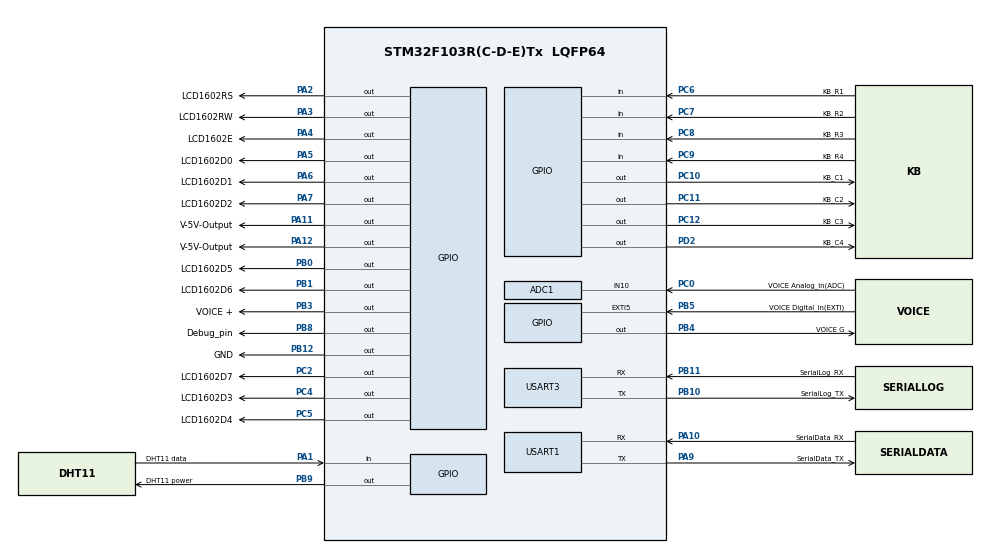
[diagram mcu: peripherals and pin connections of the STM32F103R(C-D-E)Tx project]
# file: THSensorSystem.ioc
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Mcu.Family=STM32F1
PB10.Mode=Asynchronous
PC10.Signal=GPIO_Output
PC12.Signal=GPIO_Output
PC0.GPIO_Label=VOICE Analog_in(ADC)
PC6.GPIO_Label=KB_R1
PA6.GPIO_Label=LCD1602D1
PB0.GPIO_Label=LCD1602D5
PB11.Signal=USART3_RX
ProjectManager.StackSize=0x400
PA12.Signal=GPIO_Output
PC7.Signal=GPIO_Input
PA12.PinState=GPIO_PIN_SET
ADC1.Channel-0\#ChannelRegularConversion=ADC_CHANNEL_10
PB12.GPIO_Label=GND
PC4.GPIO_Label=LCD1602D3
PB1.GPIO_Label=LCD1602D6
PC11.GPIO_Label=KB_C2
PA10.GPIO_Label=SerialData_RX
ADC1.SamplingTime-0\#ChannelRegularConversion=ADC_SAMPLETIME_1CYCLE_5
PC10.GPIO_ModeDefaultOutputPP=GPIO_MODE_OUTPUT_PP
Mcu.Package=LQFP64
PB9.Signal=GPIO_Output
TIM2.Prescaler=7
PB1.Signal=GPIO_Output
PA6.Signal=GPIO_Output
PA2.GPIO_Label=LCD1602RS
PA10.Signal=USART1_RX
PC6.GPIO_PuPd=GPIO_PULLDOWN
PB5.GPIO_Label=VOICE Digital_in(EXTI)
PC5.Signal=GPIO_Output
PA4.GPIO_Label=LCD1602E
PC2.GPIO_Label=LCD1602D7
PB4.Signal=GPIO_Output
PA3.Signal=GPIO_Output
PB3.GPIO_Label=VOICE +
PB5.GPIO_ModeDefaultEXTI=GPIO_MODE_IT_RISING
ADC1.Rank-0\#ChannelRegularConversion=1
TIM2.CounterMode=TIM_COUNTERMODE_DOWN
PB9.GPIO_Label=DHT11 power
PA10.Mode=Asynchronous
PC10.GPIO_Label=KB_C1
PC9.GPIO_Label=KB_R4
PC11.Signal=GPIO_Output
PA9.GPIO_Label=SerialData_TX
PC8.Signal=GPIO_Input
PC2.Signal=GPIO_Output
PC4.Signal=GPIO_Output
PC6.Signal=GPIO_Input
PB11.GPIO_Label=SerialLog_RX
PA11.GPIO_Label=V-5V-Output
PC0.Signal=ADCx_IN10
VP_SYS_VS_ND.Mode=No_Debug
PA12.GPIO_Label=V-5V-Output
PC8.GPIO_Label=KB_R3
PB8.GPIO_Label=Debug_pin
PA9.Mode=Asynchronous
PB11.Mode=Asynchronous
ProjectManager.TargetToolchain=STM32CubeIDE
PB10.GPIO_Label=SerialLog_TX
PA9.Signal=USART1_TX
PC7.GPIO_PuPd=GPIO_PULLDOWN
PA1.Signal=GPIO_Input
PB10.Signal=USART3_TX
PA5.Signal=GPIO_Output
board=custom
RCC.APB2Freq_Value=8000000
PB4.GPIO_Label=VOICE G
VP_TIM2_VS_ClockSourceINT.Mode=Internal
PA1.GPIO_Label=DHT11 data
PC9.GPIO_PuPd=GPIO_PULLDOWN
Mcu.Name=STM32F103R(C-D-E)Tx
PA2.Signal=GPIO_Output
PC7.GPIO_Label=KB_R2
PC8.GPIO_PuPd=GPIO_PULLDOWN
PB3.Signal=GPIO_Output
PA4.Signal=GPIO_Output
PB5.Signal=GPXTI5
PA7.GPIO_Label=LCD1602D2
ADC1.master=1
PA5.GPIO_Label=LCD1602D0
PC5.GPIO_Label=LCD1602D4
USART3.VirtualMode=VM_ASYNC
PB5.GPIO_PuPd=GPIO_NOPULL
PC12.GPIO_Label=KB_C3
USART1.VirtualMode=VM_ASYNC
PB9.PinState=GPIO_PIN_SET
PA11.Signal=GPIO_Output
NVIC.EXTI9_5_IRQn=true\:0\:0\:false\:false\:true\:true\:true
SH.ADCx_IN10.0=ADC1_IN10,IN10
ProjectManager.HeapSize=0x200
NVIC.PriorityGroup=NVIC_PRIORITYGROUP_4
ADC1.NbrOfConversionFlag=1
PB8.Signal=GPIO_Output
PC9.Signal=GPIO_Input
PD2.Signal=GPIO_Output
PA11.PinState=GPIO_PIN_SET
RCC.APB1Freq_Value=8000000
PB0.Signal=GPIO_Output
PB12.Signal=GPIO_Output
PD2.GPIO_Label=KB_C4
PA3.GPIO_Label=LCD1602RW
PA7.Signal=GPIO_Output

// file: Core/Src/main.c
/* USER CODE BEGIN Header */
/**
  ******************************************************************************
  * @file           : main.c
  * @brief          : Main program body
  ******************************************************************************
  * @attention
  *
  * <h2><center>&copy; Copyright (c) 2021 STMicroelectronics.
  * All rights reserved.</center></h2>
  *
  * This software component is licensed by ST under BSD 3-Clause license,
  * the "License"; You may not use this file except in compliance with the
  * License. You may obtain a copy of the License at:
  *                        opensource.org/licenses/BSD-3-Clause
  *
  ******************************************************************************
  */
/* USER CODE END Header */
#include "main.h"

/* USER CODE BEGIN Includes */
#include "sign.h"
/** ################################## tlf ################################## */
#ifdef TLF
#include <string.h>
#include <stdio.h>
#include <stdarg.h>
#include <stddef.h>
#include <limits.h>
#include <stdint.h>
#include "vlist.h"
#include "vutils.h"
#include "logme.h"
#include "DHT.h"
#define PORT_TYPE GPIO_TypeDef*
#define PINS_INVALID_PORT NULL
#define PIN_TYPE uint16_t
#define PINS_INVALID_PIN UINT16_MAX
#include "pins.h"
#include "LCD1602.h"
#include "keypad.h"
#endif
/** ################################## wxm ################################## */
#ifdef WXM
#endif
/** ################################## ppy ################################## */
#ifdef PPY
#endif
/** ################################## sjj ################################## */
#ifdef SJJ
#include "keypad.h"
#include "pins.h"
#endif
/** ################################## tyj ################################## */
#ifdef TYJ
#include "LCD1602.h"
#endif
/* USER CODE END Includes */

/* USER CODE BEGIN PTD */
/** ################################## tlf ################################## */
#ifdef TLF
typedef enum GPIO_OutputLevel{
    GPIO_OutputLevel_LOW = GPIO_PIN_RESET,
    GPIO_OutputLevel_HIGH = GPIO_PIN_SET,
    GPIO_OutputLevel_NOT_OUTPUT
} GPIO_OutputLevel;
#endif
/** ################################## wxm ################################## */
#ifdef WXM
#endif
/** ################################## ppy ################################## */
#ifdef PPY
#endif
/** ################################## sjj ################################## */
#ifdef SJJ
#endif
/** ################################## tyj ################################## */
#ifdef TYJ
#endif
/* USER CODE END PTD */

/* USER CODE BEGIN PD */
/** ################################## tlf ################################## */
#ifdef TLF
//#define LOG_USING_SERIAL_DATA
#endif
/** ################################## wxm ################################## */
#ifdef WXM
#endif
/** ################################## ppy ################################## */
#ifdef PPY
#endif
/** ################################## sjj ################################## */
#ifdef SJJ
#endif
/** ################################## tyj ################################## */
#ifdef TYJ
#endif
/* USER CODE END PD */

/* USER CODE BEGIN PM */
/** ################################## tlf ################################## */
#ifdef TLF
#define WELCOME "hello, world! From THSensorSystem :)"
#endif
/** ################################## wxm ################################## */
#ifdef WXM
#endif
/** ################################## ppy ################################## */
#ifdef PPY
#endif
/** ################################## sjj ################################## */
#ifdef SJJ
#endif
/** ################################## tyj ################################## */
#ifdef TYJ
#endif
/* USER CODE END PM */

ADC_HandleTypeDef hadc1;

TIM_HandleTypeDef htim2;

UART_HandleTypeDef huart1;
UART_HandleTypeDef huart3;

/* USER CODE BEGIN PV */
/** ################################## tlf ################################## */
#ifdef TLF
const uint16_t RS_Pin = PA2;
const uint16_t RW_Pin = PA3;
const uint16_t EN_Pin = PA4;
const uint16_t D0_Pin = PA5;
const uint16_t D1_Pin = PA6;
const uint16_t D2_Pin = PA7;
const uint16_t D3_Pin = PC4;
const uint16_t D4_Pin = PC5;
const uint16_t D5_Pin = PB0;
const uint16_t D6_Pin = PB1;
const uint16_t D7_Pin = PC2;

const uint16_t keyboard_C4_Pin__ = PD2;
const uint16_t keyboard_C3_Pin__ = PC12;
const uint16_t keyboard_C2_Pin__ = PC11;
const uint16_t keyboard_C1_Pin__ = PC10;
const uint16_t keyboard_R1_Pin__ = PC6;
const uint16_t keyboard_R2_Pin__ = PC7;
const uint16_t keyboard_R3_Pin__ = PC8;
const uint16_t keyboard_R4_Pin__ = PC9;
#endif
/** ################################## wxm ################################## */
#ifdef WXM
#endif
/** ################################## ppy ################################## */
#ifdef PPY
#endif
/** ################################## sjj ################################## */
#ifdef SJJ
#endif
/** ################################## tyj ################################## */
#ifdef TYJ
int WorC = 0;             //0 means work,1 cry
int deverse = 1;			//deverce lcd
#endif
/* USER CODE END PV */

void SystemClock_Config(void);
static void MX_GPIO_Init(void);
static void MX_USART3_UART_Init(void);
static void MX_TIM2_Init(void);
static void MX_USART1_UART_Init(void);
static void MX_ADC1_Init(void);
/* USER CODE BEGIN PFP */
/** ################################## tlf ################################## */
#ifdef TLF
#endif
/** ################################## wxm ################################## */
#ifdef WXM
#endif
/** ################################## ppy ################################## */
#ifdef PPY
#endif
/** ################################## sjj ################################## */
#ifdef SJJ
#endif
/** ################################## tyj ################################## */
#ifdef TYJ
#endif
/* USER CODE END PFP */

/* USER CODE BEGIN 0 */
/** ################################## tlf ################################## */
#ifdef TLF
void logme_vprintf(const char* restrict format, va_list vlist){
    char buf[2048] = {0};
    vsnprintf(buf, sizeof(buf), format, vlist);
    uint32_t primask = __get_PRIMASK();
    __enable_irq();
    while (HAL_UART_Transmit(
#ifdef LOG_USING_SERIAL_DATA
            &huart1
#else
            &huart3
#endif
            , (uint8_t *)buf, strlen(buf), 0xFFFFFFFF)!=HAL_OK);
//    __set_PRIMASK(primask);
}
long long logme_get_time(){
    return HAL_GetTick();
}
int logme_prepare(){
    return 1;
}
PortType pins_get_port(DigitalPinType digitalPin){
    if (digitalPin == PINS_INVALID_DIGITAL_PIN) return PINS_INVALID_PORT;
    switch (digitalPin & 15U) {
        case 0U: return GPIOA;
        case 1U: return GPIOB;
        case 2U: return GPIOC;
        case 3U: return GPIOD;
        case 4U: return GPIOE;
        case 5U: return GPIOF;
        case 6U: return GPIOG;
        default: return PINS_INVALID_PORT;
    }
}
PinType pins_get_pin(DigitalPinType digitalPin){
    if (digitalPin == PINS_INVALID_DIGITAL_PIN) return PINS_INVALID_PIN;
    switch (digitalPin >> 4U) {
        case 0U: return GPIO_PIN_0;
        case 1U: return GPIO_PIN_1;
        case 2U: return GPIO_PIN_2;
        case 3U: return GPIO_PIN_3;
        case 4U: return GPIO_PIN_4;
        case 5U: return GPIO_PIN_5;
        case 6U: return GPIO_PIN_6;
        case 7U: return GPIO_PIN_7;
        case 8U: return GPIO_PIN_8;
        case 9U: return GPIO_PIN_9;
        case 10U: return GPIO_PIN_10;
        case 11U: return GPIO_PIN_11;
        case 12U: return GPIO_PIN_12;
        case 13U: return GPIO_PIN_13;
        case 14U: return GPIO_PIN_14;
        case 15U: return GPIO_PIN_15;
        default: return PINS_INVALID_PIN;
    }
}
DigitalPinType pins_get_digital_pin(PortType port, PinType pin){
    DigitalPinType res = 0;
    switch (pin) {
        case GPIO_PIN_0: res += 0U<<4U; break;
        case GPIO_PIN_1: res += 1U<<4U; break;
        case GPIO_PIN_2: res += 2U<<4U; break;
        case GPIO_PIN_3: res += 3U<<4U; break;
        case GPIO_PIN_4: res += 4U<<4U; break;
        case GPIO_PIN_5: res += 5U<<4U; break;
        case GPIO_PIN_6: res += 6U<<4U; break;
        case GPIO_PIN_7: res += 7U<<4U; break;
        case GPIO_PIN_8: res += 8U<<4U; break;
        case GPIO_PIN_9: res += 9U<<4U; break;
        case GPIO_PIN_10: res += 10U<<4U; break;
        case GPIO_PIN_11: res += 11U<<4U; break;
        case GPIO_PIN_12: res += 12U<<4U; break;
        case GPIO_PIN_13: res += 13U<<4U; break;
        case GPIO_PIN_14: res += 14U<<4U; break;
        case GPIO_PIN_15: res += 15U<<4U; break;
        default: return PINS_INVALID_DIGITAL_PIN;
    }
    if (port == GPIOA){
        res += 0U;
    } else if (port == GPIOB){
        res += 1U;
    } else if (port == GPIOC){
        res += 2U;
    } else if (port == GPIOD){
        res += 3U;
    } else if (port == GPIOE){
        res += 4U;
    } else if (port == GPIOF){
        res += 5U;
    } else if (port == GPIOG){
        res += 6U;
    } else{
        return PINS_INVALID_DIGITAL_PIN;
    }
    return res;
}
void GPIO_Configure(GPIO_TypeDef *GPIOx, uint16_t GPIO_Pin, GPIO_OutputLevel output_level, uint32_t GPIO_Mode, uint32_t GPIO_Pull, uint32_t GPIO_Speed)
{
    GPIO_InitTypeDef GPIO_InitStruct = {0};

    switch (GPIO_Pin) {
        case GPIO_PIN_0:
        case GPIO_PIN_1:
        case GPIO_PIN_2:
        case GPIO_PIN_3:
        case GPIO_PIN_4:
        case GPIO_PIN_5:
        case GPIO_PIN_6:
        case GPIO_PIN_7:
        case GPIO_PIN_8:
        case GPIO_PIN_9:
        case GPIO_PIN_10:
        case GPIO_PIN_11:
        case GPIO_PIN_12:
        case GPIO_PIN_13:
        case GPIO_PIN_14:
        case GPIO_PIN_15:
            break;
        default:
            return;
    }

    /* GPIO Ports Clock Enable */
    if (GPIOx == GPIOA){
        __HAL_RCC_GPIOA_CLK_ENABLE();
    } else if (GPIOx == GPIOB){
        __HAL_RCC_GPIOB_CLK_ENABLE();
    } else if (GPIOx == GPIOC){
        __HAL_RCC_GPIOC_CLK_ENABLE();
    } else if (GPIOx == GPIOD){
        __HAL_RCC_GPIOD_CLK_ENABLE();
    } else if (GPIOx == GPIOE){
        __HAL_RCC_GPIOE_CLK_ENABLE();
    } else if (GPIOx == GPIOF){
        __HAL_RCC_GPIOF_CLK_ENABLE();
    } else if (GPIOx == GPIOG){
        __HAL_RCC_GPIOG_CLK_ENABLE();
    } else{
        return;
    }

    switch (output_level) {
        case GPIO_OutputLevel_LOW:
            HAL_GPIO_WritePin(GPIOx, GPIO_Pin, GPIO_PIN_RESET);
            break;
        case GPIO_OutputLevel_HIGH:
            HAL_GPIO_WritePin(GPIOx, GPIO_Pin, GPIO_PIN_SET);
            break;
        default:
            break;
    }

    /* Configure GPIO pin */
    GPIO_InitStruct.Pin = GPIO_Pin;
    GPIO_InitStruct.Mode = GPIO_Mode;
    GPIO_InitStruct.Pull = GPIO_Pull;
    /* For most families there are dedicated registers so it is
     * not so important, register can be set at any time.But for
     * families like F1, speed only applies to output. */
    if (GPIO_Mode == GPIO_MODE_OUTPUT_PP || GPIO_Mode == GPIO_MODE_OUTPUT_OD) {
        GPIO_InitStruct.Speed = GPIO_Speed;
    }
    HAL_GPIO_Init(GPIOx, &GPIO_InitStruct);
}
void DHT_pinMode_in(uint16_t pin, DHT_PIN_MODE mode, int default_output_low){
    switch (mode) {
        case DHT_PIN_MODE_INPUT:
            GPIO_Configure(pins_get_port(pin), pins_get_pin(pin), GPIO_OutputLevel_NOT_OUTPUT, GPIO_MODE_INPUT, GPIO_NOPULL,
#ifdef GPIO_SPEED_VERY_HIGH
                    GPIO_SPEED_VERY_HIGH
#else
                           GPIO_SPEED_HIGH
#endif
            );
            break;
        case DHT_PIN_MODE_INPUT_PULLUP:
            GPIO_Configure(pins_get_port(pin), pins_get_pin(pin), GPIO_OutputLevel_NOT_OUTPUT, GPIO_MODE_INPUT, GPIO_PULLUP,
#ifdef GPIO_SPEED_VERY_HIGH
                    GPIO_SPEED_VERY_HIGH
#else
                           GPIO_SPEED_HIGH
#endif
            );
            break;
        case DHT_PIN_MODE_OUTPUT:
            GPIO_Configure(pins_get_port(pin), pins_get_pin(pin), default_output_low ? GPIO_OutputLevel_LOW : GPIO_OutputLevel_HIGH, GPIO_MODE_OUTPUT_PP, GPIO_NOPULL,
#ifdef GPIO_SPEED_VERY_HIGH
                    GPIO_SPEED_VERY_HIGH
#else
                           GPIO_SPEED_HIGH
#endif
            );
            break;
        default:
            break;
    }
}
void DHT_pinMode_Output_Low(uint16_t pin, DHT_PIN_MODE mode){
    DHT_pinMode_in(pin, mode, 1);
}
void DHT_pinMode_Output_High(uint16_t pin, DHT_PIN_MODE mode){
    DHT_pinMode_in(pin, mode, 0);
}
void DHT_pinMode(uint16_t pin, DHT_PIN_MODE mode){
    DHT_pinMode_Output_Low(pin, mode);
}
void DHT_delay(unsigned long ms){
    while (ms > 0UL) {
        uint32_t temp_ms = ms > UINT32_MAX ? UINT32_MAX : ms;
        HAL_Delay(temp_ms);
        ms -= temp_ms;
    }
}
uint32_t getUs(void) {
    uint32_t usTicks = HAL_RCC_GetSysClockFreq() / (uint32_t)1000000;
    register uint32_t ms, cycle_cnt;
    do {
        ms = HAL_GetTick();
        cycle_cnt = SysTick->VAL;
    } while (ms != HAL_GetTick());
    return (ms * (uint32_t)1000) + (usTicks * (uint32_t)1000 - cycle_cnt) / usTicks;
}
void delayUs(uint32_t us) {
    uint32_t start = getUs();
    while (getUs() - start < us);
}
void delayUs_tim(uint16_t us){
    HAL_TIM_Base_Start(&htim2);
    __HAL_TIM_SetCounter(&htim2, us);
    while(__HAL_TIM_GetCounter(&htim2)>1);
    HAL_TIM_Base_Stop(&htim2);
}
void delayUs_tim_long_long(unsigned long long us){
    while (us > 0ULL){
        uint16_t temp_us = us > UINT16_MAX ? UINT16_MAX : us;
        delayUs_tim(temp_us);
        us -= temp_us;
    }
}
void DHT_delayMicroseconds(unsigned long us) {
    delayUs_tim_long_long(us);
}
void DHT_digitalWrite(uint16_t pin, DHT_PIN_VALUE value){
    switch (value) {
        case DHT_PIN_VALUE_LOW:
            HAL_GPIO_WritePin(pins_get_port(pin), pins_get_pin(pin), GPIO_PIN_RESET);
            break;
        case DHT_PIN_VALUE_HIGH:
            HAL_GPIO_WritePin(pins_get_port(pin), pins_get_pin(pin), GPIO_PIN_SET);
            break;
        default:
            break;
    }
}
DHT_PIN_VALUE DHT_digitalRead(uint16_t pin){
    switch (HAL_GPIO_ReadPin(pins_get_port(pin), pins_get_pin(pin))) {
        default:
        case GPIO_PIN_RESET:
            return DHT_PIN_VALUE_LOW;
        case GPIO_PIN_SET:
            return DHT_PIN_VALUE_HIGH;
    }
}
long long DHT_microsecondsToClockCycles(long long us){
    return ( (us) * ((long long)SystemCoreClock / 1000000LL) );
}
void DHT_disable_interrupt(){
    __disable_irq();
}
void DHT_enable_interrupt(){
    __enable_irq();
}
void printTHtoLCD(float t, float h){
    lcd_clear();
    lcd_print(0, 0, "tem: %.2f", t);
    lcd_print(1, 0, "hum: %.0f%%", h);
}
void LCD_pinMode(uint16_t pin, LCD_PIN_MODE mode){
    switch (mode) {
        case LCD_PIN_MODE_INPUT_PULLUP:
            DHT_pinMode(pin, DHT_PIN_MODE_INPUT_PULLUP); break;
        case LCD_PIN_MODE_INPUT:
            DHT_pinMode(pin, DHT_PIN_MODE_INPUT); break;
        case LCD_PIN_MODE_OUTPUT:
            DHT_pinMode(pin, DHT_PIN_MODE_OUTPUT); break;
        default:;
    }
}
void LCD_digitalWrite(uint16_t pin, LCD_PIN_VALUE value){
    switch (value) {
        case LCD_PIN_VALUE_HIGH:
            DHT_digitalWrite(pin, DHT_PIN_VALUE_HIGH);
            break;
        case LCD_PIN_VALUE_LOW:
            DHT_digitalWrite(pin, DHT_PIN_VALUE_LOW);
            break;
        default:;
    }
}
LCD_PIN_VALUE LCD_digitalRead(uint16_t pin){
    switch (DHT_digitalRead(pin)) {
        default:
        case DHT_PIN_VALUE_HIGH:
            return LCD_PIN_VALUE_HIGH;
        case DHT_PIN_VALUE_LOW:
            return LCD_PIN_VALUE_LOW;
    }
}
void KEY_BOARD_digitalWrite(uint16_t pin, KEY_BOARD_PIN_VALUE value){
    switch (value) {
        case KEY_BOARD_PIN_VALUE_HIGH:
            DHT_digitalWrite(pin, DHT_PIN_VALUE_HIGH);
            break;
        case KEY_BOARD_PIN_VALUE_LOW:
            DHT_digitalWrite(pin, DHT_PIN_VALUE_LOW);
            break;
        default:;
    }
}
KEY_BOARD_PIN_VALUE KEY_BOARD_digitalRead(uint16_t pin){
    switch (DHT_digitalRead(pin)) {
        default:
        case DHT_PIN_VALUE_HIGH:
            return KEY_BOARD_PIN_VALUE_HIGH;
        case DHT_PIN_VALUE_LOW:
            return KEY_BOARD_PIN_VALUE_LOW;
    }
}
#endif
/** ################################## wxm ################################## */
#ifdef WXM
#endif
/** ################################## ppy ################################## */
#ifdef PPY
#endif
/** ################################## sjj ################################## */
#ifdef SJJ
#endif
/** ################################## tyj ################################## */
#ifdef TYJ
void send_voice_analog_value_to_serial_data(int is_caused_by_digital_in, unsigned int analog_v){
    unsigned char is_d = is_caused_by_digital_in?1U:0U;
    unsigned char av_high = analog_v>>8;
    unsigned char av_low = analog_v;
    HAL_UART_Transmit(&huart1, "\xF0", 1, 0xFFFFFFFF);
    HAL_UART_Transmit(&huart1, &is_d, 1, 0xFFFFFFFF);
    HAL_UART_Transmit(&huart1, &av_high, 1, 0xFFFFFFFF);
    HAL_UART_Transmit(&huart1, &av_low, 1, 0xFFFFFFFF);
}
unsigned int get_voice_av(){
    HAL_ADC_Start(&hadc1);
    if (HAL_ADC_PollForConversion(&hadc1, 50) == HAL_OK){
        return HAL_ADC_GetValue(&hadc1);
    }else{
        return UINT_MAX;
    }
}
void auto_send_voice_analog_value (int is_caused_by_digital_in) {
    unsigned int voice_av = get_voice_av();
    if (voice_av != UINT_MAX){
        LogMe.it("%sread voice_av = %u", is_caused_by_digital_in?"Caused by Digital input: ":"", voice_av);
        send_voice_analog_value_to_serial_data(is_caused_by_digital_in, voice_av);
    } else{
        LogMe.et("%sread voice_av Fail", is_caused_by_digital_in?"Caused by Digital input: ":"");
    }
}
/*
 * Init lcd
 * Make voice_module work
 */
void initmodule(){
    HAL_GPIO_WritePin(GPIOB, GPIO_PIN_8, GPIO_PIN_RESET);
    HAL_GPIO_WritePin(GPIOB, GPIO_PIN_3, GPIO_PIN_SET);
    HAL_GPIO_WritePin(GPIOB, GPIO_PIN_4, GPIO_PIN_RESET);
    lcd_init();
    lcd_clear();
}
void stop(){
    uint16_t key = read_keypad();
    HAL_GPIO_WritePin(GPIOB, GPIO_PIN_8, GPIO_PIN_RESET);
    WorC = 0;
}
void cry(){
    lcd_clear();
    lcd_put_cur(0, 0);
    lcd_send_string(" BABY ");
    lcd_send_string("IS ");
    lcd_send_string("CRYING");
}
void work(){
    if (WorC == 0 && deverse == 1) {
        lcd_clear();
        lcd_put_cur(0, 0);
        lcd_send_string(" DEV ");
        lcd_send_string("IS ");
        lcd_send_string("WORKING");
        lcd_put_cur(1, 0);
        lcd_send_string("FROM T&J PRODUCE");
        deverse = 0;
    }
}
void HAL_GPIO_EXTI_Callback(uint16_t GPIO_Pin)
{
    if(GPIO_Pin == VOICE_Digital_in_Pin)
    {
        HAL_GPIO_WritePin(GPIOB, GPIO_PIN_8, GPIO_PIN_SET);
        if (deverse==0) {
            cry();
            deverse=1;
            auto_send_voice_analog_value(1);
            stop();
        }
    }
}
#endif
/* USER CODE END 0 */

int main(void)
{
  /* USER CODE BEGIN 1 */
/** ################################## tlf ################################## */
#ifdef TLF
#endif
/** ################################## wxm ################################## */
#ifdef WXM
#endif
/** ################################## ppy ################################## */
#ifdef PPY
#endif
/** ################################## sjj ################################## */
#ifdef SJJ
#endif
/** ################################## tyj ################################## */
#ifdef TYJ
#endif
  /* USER CODE END 1 */

  /* MCU Configuration--------------------------------------------------------*/

  /* Reset of all peripherals, Initializes the Flash interface and the Systick. */
  HAL_Init();

  /* USER CODE BEGIN Init */
/** ################################## tlf ################################## */
#ifdef TLF
#endif
/** ################################## wxm ################################## */
#ifdef WXM
#endif
/** ################################## ppy ################################## */
#ifdef PPY
#endif
/** ################################## sjj ################################## */
#ifdef SJJ
#endif
/** ################################## tyj ################################## */
#ifdef TYJ
#endif
  /* USER CODE END Init */

  /* Configure the system clock */
  SystemClock_Config();

  /* USER CODE BEGIN SysInit */
/** ################################## tlf ################################## */
#ifdef TLF
#endif
/** ################################## wxm ################################## */
#ifdef WXM
#endif
/** ################################## ppy ################################## */
#ifdef PPY
#endif
/** ################################## sjj ################################## */
#ifdef SJJ
#endif
/** ################################## tyj ################################## */
#ifdef TYJ
#endif
  /* USER CODE END SysInit */

  /* Initialize all configured peripherals */
  MX_GPIO_Init();
  MX_USART3_UART_Init();
  MX_TIM2_Init();
  MX_USART1_UART_Init();
  MX_ADC1_Init();
  /* USER CODE BEGIN 2 */
/** ################################## tlf ################################## */
#ifdef TLF
    logme_init();
//    HAL_GPIO_WritePin(GPIOB, GPIO_PIN_9, GPIO_PIN_SET);
    DHT_digitalWrite(pins_get_digital_pin(GPIOB, GPIO_PIN_9), DHT_PIN_VALUE_HIGH);
    DHT_digitalWrite(pins_get_digital_pin(GPIOA, GPIO_PIN_12), DHT_PIN_VALUE_HIGH);
    DHT_digitalWrite(pins_get_digital_pin(GPIOA, GPIO_PIN_11), DHT_PIN_VALUE_HIGH);
    DHT_digitalWrite(pins_get_digital_pin(GPIOB, GPIO_PIN_12), DHT_PIN_VALUE_LOW);
    HAL_Delay(1100); // wait for DHT to be stable
    dht_init(pins_get_digital_pin(GPIOA, GPIO_PIN_1));
    lcd_init();
    lcd_clear();
#endif
/** ################################## wxm ################################## */
#ifdef WXM
#endif
/** ################################## ppy ################################## */
#ifdef PPY
#endif
/** ################################## sjj ################################## */
#ifdef SJJ
#endif
/** ################################## tyj ################################## */
#ifdef TYJ
    initmodule();
#endif
  /* USER CODE END 2 */

  /* Infinite loop */
  /* USER CODE BEGIN WHILE */
#pragma clang diagnostic push
#pragma ide diagnostic ignored "EndlessLoop"
  while (1)
  {
/** ################################## tlf ################################## */
#ifdef TLF
//      vlist list = make_vlist(5);
//      char *rabbit = zero_malloc(5);
//      if (rabbit == NULL) continue;
//      LogMe.b("%s", WELCOME);
      LogMe.bt("%s", WELCOME);
      float temperature, humidity;
      int res = dht_readTemperatureAndHumidity(pins_get_digital_pin(GPIOA, GPIO_PIN_1), dht_sensor_type_DHT11, dht_temperature_scale_Celcius, &temperature, &humidity);
      if (res){
          LogMe.bt("Temperature = %f (C), Humidity = %f", temperature, humidity);
          unsigned char tem_i = temperature;
          unsigned char tem_f = ((long)(temperature*100))-(((long)temperature)*100);
          unsigned char hum = humidity;
          HAL_UART_Transmit(&huart1, "\xFF", 1, 0xFFFFFFFF);
          HAL_UART_Transmit(&huart1, &tem_i, 1, 0xFFFFFFFF);
          HAL_UART_Transmit(&huart1, &tem_f, 1, 0xFFFFFFFF);
          HAL_UART_Transmit(&huart1, &hum, 1, 0xFFFFFFFF);
          printTHtoLCD(temperature, humidity);
      } else{
          LogMe.bt("Temperature = Fail (C), Humidity = Fail");
      }
      HAL_UART_Transmit(&huart1, WELCOME"\n", strlen(WELCOME"\n"), 0xFFFFFFFF);
//      HAL_Delay(2100);
      delayUs_tim_long_long(2100000ULL);
#endif
/** ################################## wxm ################################## */
#ifdef WXM
#endif
/** ################################## ppy ################################## */
#ifdef PPY
#endif
/** ################################## sjj ################################## */
#ifdef SJJ
#endif
/** ################################## tyj ################################## */
#ifdef TYJ
    work();
    auto_send_voice_analog_value(0);
#endif
    /* USER CODE END WHILE */

    /* USER CODE BEGIN 3 */
/** ################################## tlf ################################## */
#ifdef TLF
#endif
/** ################################## wxm ################################## */
#ifdef WXM
#endif
/** ################################## ppy ################################## */
#ifdef PPY
#endif
/** ################################## sjj ################################## */
#ifdef SJJ
#endif
/** ################################## tyj ################################## */
#ifdef TYJ
#endif
  }
#pragma clang diagnostic pop
  /* USER CODE END 3 */
}

void SystemClock_Config(void)
{
  RCC_OscInitTypeDef RCC_OscInitStruct = {0};
  RCC_ClkInitTypeDef RCC_ClkInitStruct = {0};
  RCC_PeriphCLKInitTypeDef PeriphClkInit = {0};

  /** Initializes the RCC Oscillators according to the specified parameters
  * in the RCC_OscInitTypeDef structure.
  */
  RCC_OscInitStruct.OscillatorType = RCC_OSCILLATORTYPE_HSI;
  RCC_OscInitStruct.HSIState = RCC_HSI_ON;
  RCC_OscInitStruct.HSICalibrationValue = RCC_HSICALIBRATION_DEFAULT;
  RCC_OscInitStruct.PLL.PLLState = RCC_PLL_NONE;
  if (HAL_RCC_OscConfig(&RCC_OscInitStruct) != HAL_OK)
  {
    Error_Handler();
  }
  /** Initializes the CPU, AHB and APB buses clocks
  */
  RCC_ClkInitStruct.ClockType = RCC_CLOCKTYPE_HCLK|RCC_CLOCKTYPE_SYSCLK
                              |RCC_CLOCKTYPE_PCLK1|RCC_CLOCKTYPE_PCLK2;
  RCC_ClkInitStruct.SYSCLKSource = RCC_SYSCLKSOURCE_HSI;
  RCC_ClkInitStruct.AHBCLKDivider = RCC_SYSCLK_DIV1;
  RCC_ClkInitStruct.APB1CLKDivider = RCC_HCLK_DIV1;
  RCC_ClkInitStruct.APB2CLKDivider = RCC_HCLK_DIV1;

  if (HAL_RCC_ClockConfig(&RCC_ClkInitStruct, FLASH_LATENCY_0) != HAL_OK)
  {
    Error_Handler();
  }
  PeriphClkInit.PeriphClockSelection = RCC_PERIPHCLK_ADC;
  PeriphClkInit.AdcClockSelection = RCC_ADCPCLK2_DIV2;
  if (HAL_RCCEx_PeriphCLKConfig(&PeriphClkInit) != HAL_OK)
  {
    Error_Handler();
  }
}

static void MX_ADC1_Init(void)
{

  ADC_ChannelConfTypeDef sConfig = {0};

  /** Common config
  */
  hadc1.Instance = ADC1;
  hadc1.Init.ScanConvMode = ADC_SCAN_DISABLE;
  hadc1.Init.ContinuousConvMode = DISABLE;
  hadc1.Init.DiscontinuousConvMode = DISABLE;
  hadc1.Init.ExternalTrigConv = ADC_SOFTWARE_START;
  hadc1.Init.DataAlign = ADC_DATAALIGN_RIGHT;
  hadc1.Init.NbrOfConversion = 1;
  if (HAL_ADC_Init(&hadc1) != HAL_OK)
  {
    Error_Handler();
  }
  /** Configure Regular Channel
  */
  sConfig.Channel = ADC_CHANNEL_10;
  sConfig.Rank = ADC_REGULAR_RANK_1;
  sConfig.SamplingTime = ADC_SAMPLETIME_1CYCLE_5;
  if (HAL_ADC_ConfigChannel(&hadc1, &sConfig) != HAL_OK)
  {
    Error_Handler();
  }

}

static void MX_TIM2_Init(void)
{

  TIM_ClockConfigTypeDef sClockSourceConfig = {0};
  TIM_MasterConfigTypeDef sMasterConfig = {0};

  htim2.Instance = TIM2;
  htim2.Init.Prescaler = 7;
  htim2.Init.CounterMode = TIM_COUNTERMODE_DOWN;
  htim2.Init.Period = 65535;
  htim2.Init.ClockDivision = TIM_CLOCKDIVISION_DIV1;
  htim2.Init.AutoReloadPreload = TIM_AUTORELOAD_PRELOAD_DISABLE;
  if (HAL_TIM_Base_Init(&htim2) != HAL_OK)
  {
    Error_Handler();
  }
  sClockSourceConfig.ClockSource = TIM_CLOCKSOURCE_INTERNAL;
  if (HAL_TIM_ConfigClockSource(&htim2, &sClockSourceConfig) != HAL_OK)
  {
    Error_Handler();
  }
  sMasterConfig.MasterOutputTrigger = TIM_TRGO_RESET;
  sMasterConfig.MasterSlaveMode = TIM_MASTERSLAVEMODE_DISABLE;
  if (HAL_TIMEx_MasterConfigSynchronization(&htim2, &sMasterConfig) != HAL_OK)
  {
    Error_Handler();
  }

}

static void MX_USART1_UART_Init(void)
{

  huart1.Instance = USART1;
  huart1.Init.BaudRate = 115200;
  huart1.Init.WordLength = UART_WORDLENGTH_8B;
  huart1.Init.StopBits = UART_STOPBITS_1;
  huart1.Init.Parity = UART_PARITY_NONE;
  huart1.Init.Mode = UART_MODE_TX_RX;
  huart1.Init.HwFlowCtl = UART_HWCONTROL_NONE;
  huart1.Init.OverSampling = UART_OVERSAMPLING_16;
  if (HAL_UART_Init(&huart1) != HAL_OK)
  {
    Error_Handler();
  }

}

static void MX_USART3_UART_Init(void)
{

  huart3.Instance = USART3;
  huart3.Init.BaudRate = 115200;
  huart3.Init.WordLength = UART_WORDLENGTH_8B;
  huart3.Init.StopBits = UART_STOPBITS_1;
  huart3.Init.Parity = UART_PARITY_NONE;
  huart3.Init.Mode = UART_MODE_TX_RX;
  huart3.Init.HwFlowCtl = UART_HWCONTROL_NONE;
  huart3.Init.OverSampling = UART_OVERSAMPLING_16;
  if (HAL_UART_Init(&huart3) != HAL_OK)
  {
    Error_Handler();
  }

}

static void MX_GPIO_Init(void)
{
  GPIO_InitTypeDef GPIO_InitStruct = {0};

  /* GPIO Ports Clock Enable */
  __HAL_RCC_GPIOC_CLK_ENABLE();
  __HAL_RCC_GPIOA_CLK_ENABLE();
  __HAL_RCC_GPIOB_CLK_ENABLE();
  __HAL_RCC_GPIOD_CLK_ENABLE();

  /*Configure GPIO pin Output Level */
  HAL_GPIO_WritePin(GPIOC, LCD1602D7_Pin|LCD1602D3_Pin|LCD1602D4_Pin|KB_C1_Pin
                          |KB_C2_Pin|KB_C3_Pin, GPIO_PIN_RESET);

  /*Configure GPIO pin Output Level */
  HAL_GPIO_WritePin(GPIOA, LCD1602RS_Pin|LCD1602RW_Pin|LCD1602E_Pin|LCD1602D0_Pin
                          |LCD1602D1_Pin|LCD1602D2_Pin, GPIO_PIN_RESET);

  /*Configure GPIO pin Output Level */
  HAL_GPIO_WritePin(GPIOB, LCD1602D5_Pin|LCD1602D6_Pin|GND_Pin|VOICE___Pin
                          |VOICE_G_Pin|Debug_pin_Pin, GPIO_PIN_RESET);

  /*Configure GPIO pin Output Level */
  HAL_GPIO_WritePin(GPIOA, V_5V_Output_Pin|V_5V_OutputA12_Pin, GPIO_PIN_SET);

  /*Configure GPIO pin Output Level */
  HAL_GPIO_WritePin(KB_C4_GPIO_Port, KB_C4_Pin, GPIO_PIN_RESET);

  /*Configure GPIO pin Output Level */
  HAL_GPIO_WritePin(DHT11_power_GPIO_Port, DHT11_power_Pin, GPIO_PIN_SET);

  /*Configure GPIO pins : LCD1602D7_Pin LCD1602D3_Pin LCD1602D4_Pin KB_C1_Pin
                           KB_C2_Pin KB_C3_Pin */
  GPIO_InitStruct.Pin = LCD1602D7_Pin|LCD1602D3_Pin|LCD1602D4_Pin|KB_C1_Pin
                          |KB_C2_Pin|KB_C3_Pin;
  GPIO_InitStruct.Mode = GPIO_MODE_OUTPUT_PP;
  GPIO_InitStruct.Pull = GPIO_NOPULL;
  GPIO_InitStruct.Speed = GPIO_SPEED_FREQ_LOW;
  HAL_GPIO_Init(GPIOC, &GPIO_InitStruct);

  /*Configure GPIO pin : DHT11_data_Pin */
  GPIO_InitStruct.Pin = DHT11_data_Pin;
  GPIO_InitStruct.Mode = GPIO_MODE_INPUT;
  GPIO_InitStruct.Pull = GPIO_NOPULL;
  HAL_GPIO_Init(DHT11_data_GPIO_Port, &GPIO_InitStruct);

  /*Configure GPIO pins : LCD1602RS_Pin LCD1602RW_Pin LCD1602E_Pin LCD1602D0_Pin
                           LCD1602D1_Pin LCD1602D2_Pin V_5V_Output_Pin V_5V_OutputA12_Pin */
  GPIO_InitStruct.Pin = LCD1602RS_Pin|LCD1602RW_Pin|LCD1602E_Pin|LCD1602D0_Pin
                          |LCD1602D1_Pin|LCD1602D2_Pin|V_5V_Output_Pin|V_5V_OutputA12_Pin;
  GPIO_InitStruct.Mode = GPIO_MODE_OUTPUT_PP;
  GPIO_InitStruct.Pull = GPIO_NOPULL;
  GPIO_InitStruct.Speed = GPIO_SPEED_FREQ_LOW;
  HAL_GPIO_Init(GPIOA, &GPIO_InitStruct);

  /*Configure GPIO pins : LCD1602D5_Pin LCD1602D6_Pin GND_Pin VOICE___Pin
                           VOICE_G_Pin Debug_pin_Pin DHT11_power_Pin */
  GPIO_InitStruct.Pin = LCD1602D5_Pin|LCD1602D6_Pin|GND_Pin|VOICE___Pin
                          |VOICE_G_Pin|Debug_pin_Pin|DHT11_power_Pin;
  GPIO_InitStruct.Mode = GPIO_MODE_OUTPUT_PP;
  GPIO_InitStruct.Pull = GPIO_NOPULL;
  GPIO_InitStruct.Speed = GPIO_SPEED_FREQ_LOW;
  HAL_GPIO_Init(GPIOB, &GPIO_InitStruct);

  /*Configure GPIO pins : KB_R1_Pin KB_R2_Pin KB_R3_Pin KB_R4_Pin */
  GPIO_InitStruct.Pin = KB_R1_Pin|KB_R2_Pin|KB_R3_Pin|KB_R4_Pin;
  GPIO_InitStruct.Mode = GPIO_MODE_INPUT;
  GPIO_InitStruct.Pull = GPIO_PULLDOWN;
  HAL_GPIO_Init(GPIOC, &GPIO_InitStruct);

  /*Configure GPIO pin : KB_C4_Pin */
  GPIO_InitStruct.Pin = KB_C4_Pin;
  GPIO_InitStruct.Mode = GPIO_MODE_OUTPUT_PP;
  GPIO_InitStruct.Pull = GPIO_NOPULL;
  GPIO_InitStruct.Speed = GPIO_SPEED_FREQ_LOW;
  HAL_GPIO_Init(KB_C4_GPIO_Port, &GPIO_InitStruct);

  /*Configure GPIO pin : VOICE_Digital_in_Pin */
  GPIO_InitStruct.Pin = VOICE_Digital_in_Pin;
  GPIO_InitStruct.Mode = GPIO_MODE_IT_RISING;
  GPIO_InitStruct.Pull = GPIO_NOPULL;
  HAL_GPIO_Init(VOICE_Digital_in_GPIO_Port, &GPIO_InitStruct);

  /* EXTI interrupt init*/
  HAL_NVIC_SetPriority(EXTI9_5_IRQn, 0, 0);
  HAL_NVIC_EnableIRQ(EXTI9_5_IRQn);

}

void Error_Handler(void)
{
  /* USER CODE BEGIN Error_Handler_Debug */
  /* User can add his own implementation to report the HAL error return state */
/** ################################## tlf ################################## */
#ifdef TLF
#endif
/** ################################## wxm ################################## */
#ifdef WXM
#endif
/** ################################## ppy ################################## */
#ifdef PPY
#endif
/** ################################## sjj ################################## */
#ifdef SJJ
#endif
/** ################################## tyj ################################## */
#ifdef TYJ
#endif
  /* USER CODE END Error_Handler_Debug */
}

/************************ (C) COPYRIGHT STMicroelectronics *****END OF FILE****/
